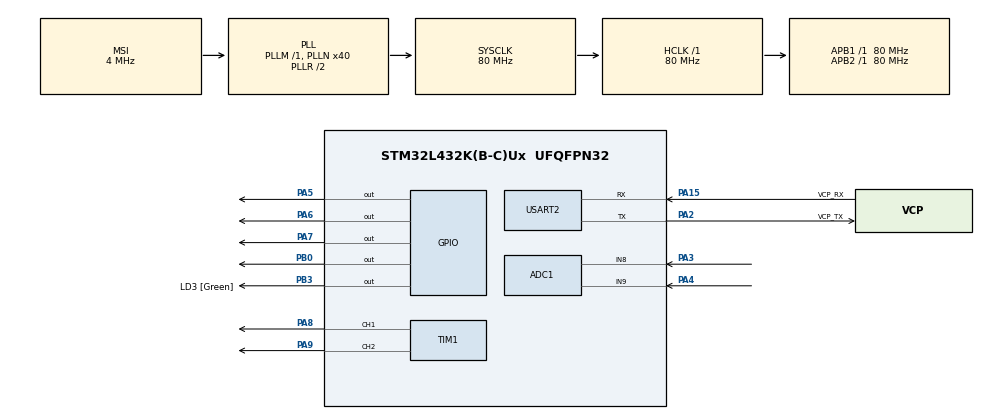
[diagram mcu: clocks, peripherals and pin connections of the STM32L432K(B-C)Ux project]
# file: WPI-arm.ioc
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ADC1.Channel-0\#ChannelRegularConversion=ADC_CHANNEL_8
ADC1.Channel-1\#ChannelRegularConversion=ADC_CHANNEL_9
ADC1.ContinuousConvMode=ENABLE
ADC1.EOCSelection=ADC_EOC_SEQ_CONV
ADC1.NbrOfConversion=2
ADC1.NbrOfConversionFlag=1
ADC1.OffsetNumber-0\#ChannelRegularConversion=ADC_OFFSET_NONE
ADC1.OffsetNumber-1\#ChannelRegularConversion=ADC_OFFSET_NONE
ADC1.OversamplingMode=DISABLE
ADC1.Rank-0\#ChannelRegularConversion=1
ADC1.Rank-1\#ChannelRegularConversion=2
ADC1.SamplingTime-0\#ChannelRegularConversion=ADC_SAMPLETIME_2CYCLES_5
ADC1.SamplingTime-1\#ChannelRegularConversion=ADC_SAMPLETIME_2CYCLES_5
ADC1.master=1
Dma.ADC1.0.Direction=DMA_PERIPH_TO_MEMORY
Dma.ADC1.0.Instance=DMA1_Channel1
Dma.ADC1.0.MemDataAlignment=DMA_MDATAALIGN_HALFWORD
Dma.ADC1.0.MemInc=DMA_MINC_ENABLE
Dma.ADC1.0.Mode=DMA_NORMAL
Dma.ADC1.0.PeriphDataAlignment=DMA_PDATAALIGN_HALFWORD
Dma.ADC1.0.PeriphInc=DMA_PINC_DISABLE
Dma.ADC1.0.Priority=DMA_PRIORITY_MEDIUM
Dma.Request0=ADC1
Mcu.Family=STM32L4
Mcu.Name=STM32L432K(B-C)Ux
Mcu.Package=UFQFPN32
NVIC.DMA1_Channel1_IRQn=true\:0\:0\:false\:false\:true\:false\:true
NVIC.PriorityGroup=NVIC_PRIORITYGROUP_4
PA0.GPIO_Label=MCO [High speed clock in]
PA0.Signal=RCC_CK_IN
PA13\ (JTMS-SWDIO).GPIO_Label=SWDIO
PA13\ (JTMS-SWDIO).Signal=SYS_JTMS-SWDIO
PA14\ (JTCK-SWCLK).GPIO_Label=SWCLK
PA14\ (JTCK-SWCLK).Signal=SYS_JTCK-SWCLK
PA15\ (JTDI).GPIO_Label=VCP_RX
PA15\ (JTDI).Mode=Asynchronous
PA15\ (JTDI).Signal=USART2_RX
PA2.GPIO_Label=VCP_TX
PA2.Mode=Asynchronous
PA2.Signal=USART2_TX
PA3.Signal=ADCx_IN8
PA4.Signal=ADCx_IN9
PA5.Signal=GPIO_Output
PA6.Signal=GPIO_Output
PA7.Signal=GPIO_Output
PA8.Signal=S_TIM1_CH1
PA9.Signal=S_TIM1_CH2
PB0.Signal=GPIO_Output
PB3\ (JTDO-TRACESWO).GPIO_Label=LD3 [Green]
PB3\ (JTDO-TRACESWO).Signal=GPIO_Output
PC14-OSC32_IN\ (PC14).Signal=RCC_OSC32_IN
PC15-OSC32_OUT\ (PC15).Signal=RCC_OSC32_OUT
ProjectManager.HeapSize=0x200
ProjectManager.StackSize=0x400
ProjectManager.TargetToolchain=STM32CubeIDE
RCC.ADCFreq_Value=32000000
RCC.AHBFreq_Value=80000000
RCC.APB1Freq_Value=80000000
RCC.APB1TimFreq_Value=80000000
RCC.APB2Freq_Value=80000000
RCC.APB2TimFreq_Value=80000000
RCC.CortexFreq_Value=80000000
RCC.HCLKFreq_Value=80000000
RCC.HSE_VALUE=8000000
RCC.HSI16_VALUE=16000000
RCC.HSI48_VALUE=48000000
RCC.HSI_VALUE=16000000
RCC.LSE_VALUE=32768
RCC.MSI_VALUE=4000000
RCC.PLLMUL=RCC_PLLMUL_4
RCC.PLLN=40
RCC.PLLSAI1N=16
RCC.SYSCLKFreq_VALUE=80000000
RCC.SYSCLKSource=RCC_SYSCLKSOURCE_PLLCLK
RCC.USBFreq_Value=32000000
RCC.VCOOutputFreq_Value=160000000
SH.ADCx_IN8.0=ADC1_IN8,IN8-Single-Ended
SH.ADCx_IN9.0=ADC1_IN9,IN9-Single-Ended
SH.S_TIM1_CH1.0=TIM1_CH1,PWM Generation1 CH1
SH.S_TIM1_CH2.0=TIM1_CH2,PWM Generation2 CH2
TIM1.Channel-PWM\ Generation1\ CH1=TIM_CHANNEL_1
TIM1.Channel-PWM\ Generation2\ CH2=TIM_CHANNEL_2
USART2.VirtualMode-Asynchronous=VM_ASYNC
board=NUCLEO-L432KC

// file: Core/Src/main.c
/* USER CODE BEGIN Header */
/**
  ******************************************************************************
  * @file           : main.c
  * @brief          : Main program body
  ******************************************************************************
  * @attention
  *
  * <h2><center>&copy; Copyright (c) 2020 STMicroelectronics.
  * All rights reserved.</center></h2>
  *
  * This software component is licensed by ST under BSD 3-Clause license,
  * the "License"; You may not use this file except in compliance with the
  * License. You may obtain a copy of the License at:
  *                        opensource.org/licenses/BSD-3-Clause
  *
  ******************************************************************************
  */
/* USER CODE END Header */

#include "main.h"
#include "adc.h"
#include "dma.h"
#include "tim.h"
#include "usart.h"
#include "gpio.h"

/* USER CODE BEGIN Includes */
// hardware
#include "potentiometer.h"
#include "motor.h"

// controller
#include "pid.h"

// system io
#include "serialPrint.h"

/* USER CODE END Includes */

void SystemClock_Config(void);

/* USER CODE BEGIN 0 */

Motor_t gLowerMotor;
Motor_t gUpperMotor;

Potentiometer_t gLowerPot;
Potentiometer_t gUpperPot;

PIDCtrl_t gLowerPID;
PIDCtrl_t gUpperPID;

/* USER CODE END 0 */

int main(void)
{

	/* MCU Configuration--------------------------------------------------------*/

	/* Reset of all peripherals, Initializes the Flash interface and the Systick. */
	HAL_Init();

	/* Configure the system clock */
	SystemClock_Config();

	/* Initialize all configured peripherals */
	MX_GPIO_Init();
	MX_DMA_Init();
	MX_ADC1_Init();
	MX_TIM1_Init();
	MX_USART2_UART_Init();

	/* USER CODE BEGIN 2 */

	/* Initialize Motors */
	uartprintf("Initializing Motors ..................... ");

	/* Lower Motor Config
	 * RED -> OUT1
	 * BLACK -> OUT2
	 * */
	gLowerMotor.channel = TIM_CHANNEL_1; // PA8 -> ENA
	gLowerMotor.voltage = 0.0;
	gLowerMotor.dir1 = GPIO_PIN_6; // PA6 -> IN1
	gLowerMotor.dir2 = GPIO_PIN_7; // PA7 -> IN2

	/* Lower Motor Init */
	Motor_init(&gLowerMotor);

	/* Upper Motor
	 * RED -> OUT3
	 * BLACK -> OUT4
	 * */
	gUpperMotor.channel = TIM_CHANNEL_2; // PA9 -> ENB
	gUpperMotor.voltage = 0.0;
	gUpperMotor.dir1 = GPIO_PIN_10; // PA10 -> IN3
	gUpperMotor.dir2 = GPIO_PIN_11; // PA11 -> IN4

	/* Upper Motor Init */
	Motor_init(&gUpperMotor);

	uartprintf("OK\r\n");

	/* Initialize potentiometer values */
	uartprintf("Initializing Potentiometer .............. ");

	/* Lower Potentiometer */
	/* zero: 1895 lsb */
	gLowerPot.cal.zero = 1895;
	/* +90: 3450 lsb */
	uint16_t p90 = 3450;
	float pConv = (float)(p90 - gLowerPot.cal.zero)/90; // lsb/deg
	/* -90: 435 lsb */
	uint16_t m90 = 435;
	float mConv = (float)(gLowerPot.cal.zero - m90)/90; // lsb/deg
	gLowerPot.cal.convFactor = (pConv + mConv)/2;

	/* Upper Potentiometer */
	/* zero: 1360 lsb */
	gUpperPot.cal.zero = 1360;
	/* +90: 2700 lsb */
	p90 = 2700;
	pConv = (float)(p90 - gUpperPot.cal.zero)/90; // lsb/deg
	/* -90: 215 lsb */
	m90 = 215;
	mConv = (float)(gUpperPot.cal.zero - m90)/90; // lsb/deg
	gUpperPot.cal.convFactor = (pConv + mConv)/2;

	uartprintf("OK\r\n");

	/* read initial position */
	uartprintf("Reading Initial Positions ............... ");
	Potentiometer_read();
	Potentiometer_getPosition(&gLowerPot);
	Potentiometer_getPosition(&gUpperPot);

	uartprintf("OK\r\n");

	/* initialize PID Controllers */
	uartprintf("Initializing Controllers ................ ");
	/* lower */
	PID_init(&gLowerPID, 4, 1, 0, 50, gLowerPot.pos);
	/* upper */
	PID_init(&gUpperPID, 4, 1, 0, -30, gUpperPot.pos);

	uartprintf("OK\r\n");

	/* time variables */
	uint32_t time = 0;
	uint32_t startTime = HAL_GetTick();

	/* USER CODE END 2 */

	/* Infinite loop */
	/* USER CODE BEGIN WHILE */
	while (1)
	{

		time = HAL_GetTick() - startTime;

		/* read potentiometers */
		Potentiometer_read();
		Potentiometer_getPosition(&gLowerPot);
		Potentiometer_getPosition(&gUpperPot);

		/* calculate control input */
		/* lower motor controller */
		PID_update(&gLowerPID, gLowerPot.pos);
		/* upper motor controller */
		PID_update(&gUpperPID, gUpperPot.pos);

		/* move arm */
		/* lower motor */
		Motor_setSpeed(&gLowerMotor, gLowerPID.u);
		/* upper motor */
		Motor_setSpeed(&gUpperMotor, gUpperPID.u);

		HAL_Delay(3);

		/* motion profile */
		if(time > 10000){
			PID_changeSetpoint(&gLowerPID, 70);
			PID_changeSetpoint(&gUpperPID, -15);
		}else if(time > 7000){
			PID_changeSetpoint(&gUpperPID, 45);
		}else if(time > 5000){
			PID_changeSetpoint(&gLowerPID, 30);
			PID_changeSetpoint(&gUpperPID, -15);
		}else if(time > 2500){
			PID_changeSetpoint(&gLowerPID, 65);
			PID_changeSetpoint(&gUpperPID, 20);
		}

		/* USER CODE END WHILE */

	}
}

void SystemClock_Config(void)
{
  RCC_OscInitTypeDef RCC_OscInitStruct = {0};
  RCC_ClkInitTypeDef RCC_ClkInitStruct = {0};
  RCC_PeriphCLKInitTypeDef PeriphClkInit = {0};

  /** Initializes the CPU, AHB and APB busses clocks
  */
  RCC_OscInitStruct.OscillatorType = RCC_OSCILLATORTYPE_MSI;
  RCC_OscInitStruct.MSIState = RCC_MSI_ON;
  RCC_OscInitStruct.MSICalibrationValue = 0;
  RCC_OscInitStruct.MSIClockRange = RCC_MSIRANGE_6;
  RCC_OscInitStruct.PLL.PLLState = RCC_PLL_ON;
  RCC_OscInitStruct.PLL.PLLSource = RCC_PLLSOURCE_MSI;
  RCC_OscInitStruct.PLL.PLLM = 1;
  RCC_OscInitStruct.PLL.PLLN = 40;
  RCC_OscInitStruct.PLL.PLLP = RCC_PLLP_DIV7;
  RCC_OscInitStruct.PLL.PLLQ = RCC_PLLQ_DIV2;
  RCC_OscInitStruct.PLL.PLLR = RCC_PLLR_DIV2;
  if (HAL_RCC_OscConfig(&RCC_OscInitStruct) != HAL_OK)
  {
    Error_Handler();
  }
  /** Initializes the CPU, AHB and APB busses clocks
  */
  RCC_ClkInitStruct.ClockType = RCC_CLOCKTYPE_HCLK|RCC_CLOCKTYPE_SYSCLK
                              |RCC_CLOCKTYPE_PCLK1|RCC_CLOCKTYPE_PCLK2;
  RCC_ClkInitStruct.SYSCLKSource = RCC_SYSCLKSOURCE_PLLCLK;
  RCC_ClkInitStruct.AHBCLKDivider = RCC_SYSCLK_DIV1;
  RCC_ClkInitStruct.APB1CLKDivider = RCC_HCLK_DIV1;
  RCC_ClkInitStruct.APB2CLKDivider = RCC_HCLK_DIV1;

  if (HAL_RCC_ClockConfig(&RCC_ClkInitStruct, FLASH_LATENCY_4) != HAL_OK)
  {
    Error_Handler();
  }
  PeriphClkInit.PeriphClockSelection = RCC_PERIPHCLK_USART2|RCC_PERIPHCLK_ADC;
  PeriphClkInit.Usart2ClockSelection = RCC_USART2CLKSOURCE_PCLK1;
  PeriphClkInit.AdcClockSelection = RCC_ADCCLKSOURCE_PLLSAI1;
  PeriphClkInit.PLLSAI1.PLLSAI1Source = RCC_PLLSOURCE_MSI;
  PeriphClkInit.PLLSAI1.PLLSAI1M = 1;
  PeriphClkInit.PLLSAI1.PLLSAI1N = 16;
  PeriphClkInit.PLLSAI1.PLLSAI1P = RCC_PLLP_DIV7;
  PeriphClkInit.PLLSAI1.PLLSAI1Q = RCC_PLLQ_DIV2;
  PeriphClkInit.PLLSAI1.PLLSAI1R = RCC_PLLR_DIV2;
  PeriphClkInit.PLLSAI1.PLLSAI1ClockOut = RCC_PLLSAI1_ADC1CLK;
  if (HAL_RCCEx_PeriphCLKConfig(&PeriphClkInit) != HAL_OK)
  {
    Error_Handler();
  }
  /** Configure the main internal regulator output voltage
  */
  if (HAL_PWREx_ControlVoltageScaling(PWR_REGULATOR_VOLTAGE_SCALE1) != HAL_OK)
  {
    Error_Handler();
  }
}

void Error_Handler(void)
{
}

/************************ (C) COPYRIGHT STMicroelectronics *****END OF FILE****/
